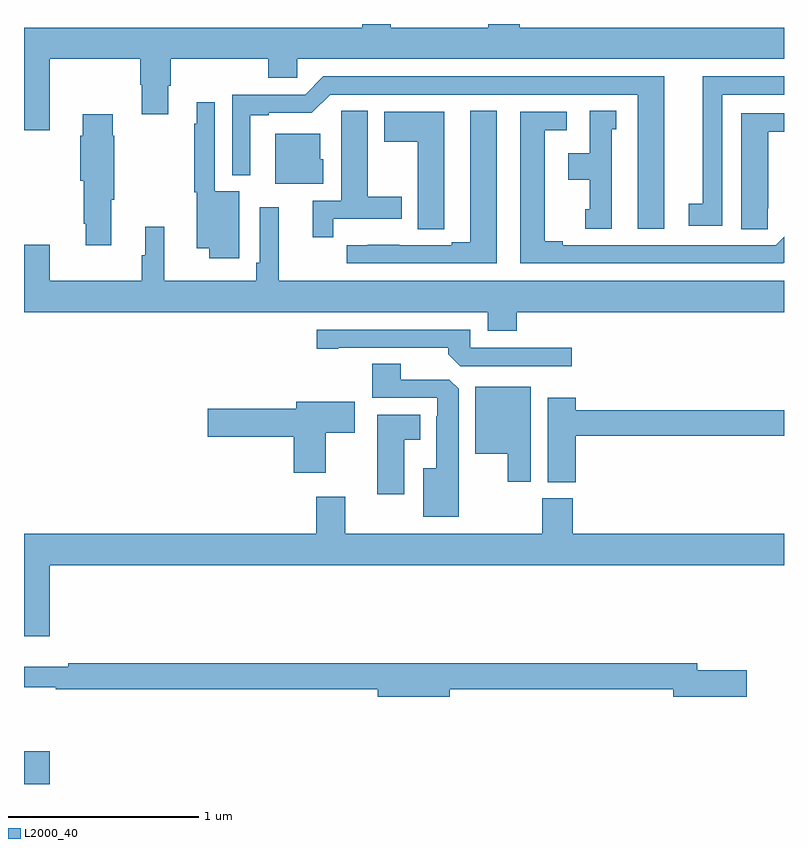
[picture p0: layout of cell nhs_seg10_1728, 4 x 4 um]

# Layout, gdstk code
import gdstk
lib = gdstk.Library(unit=1e-6, precision=1e-09)
def R(c, l, rs):  # rectangles x0, y0, x1, y1
    for r in rs: c.add(gdstk.rectangle(r[:2], r[2:], *l))
def P(c, l, *ps):  # polygons
    for p in ps: c.add(gdstk.Polygon(p, *l))
L2000_40 = (2000, 40)

nhs_seg10_1728 = lib.new_cell('nhs_seg10_1728')
R(nhs_seg10_1728, L2000_40, [(201,1296.5,201.136,1296.673)])
P(nhs_seg10_1728, L2000_40, [(201.136,1300.316),(201.613,1300.316),(201.613,1300.179),(201.62,1300.179),(201.62,1300.026),(201.76,1300.026),(201.76,1300.174),(201.773,1300.174),(201.773,1300.316),(202.286,1300.316),(202.286,1300.218),(202.437,1300.218),(202.437,1300.316),(205,1300.316),(205,1300.48),(203.609,1300.48),(203.609,1300.5),(203.444,1300.5),(203.444,1300.48),(202.931,1300.48),(202.931,1300.5),(202.779,1300.5),(202.779,1300.48),(201,1300.48),(201,1299.942),(201.136,1299.942)],
  [(204.676,1300.128),(205,1300.128),(205,1300.224),(204.572,1300.224),(204.572,1299.554),(204.498,1299.554),(204.498,1299.438),(204.676,1299.438)],
  [(204.37,1300.224),(202.575,1300.224),(202.479,1300.128),(202.095,1300.128),(202.095,1299.704),(202.192,1299.704),(202.192,1300.02),(202.288,1300.02),(202.288,1300.032),(202.515,1300.032),(202.611,1300.128),(204.23,1300.128),(204.23,1299.423),(204.37,1299.423)],
  [(202.132,1299.619),(202.005,1299.619),(202.005,1300.087),(201.908,1300.087),(201.908,1299.974),(201.897,1299.974),(201.897,1299.615),(201.908,1299.615),(201.908,1299.32),(201.974,1299.32),(201.974,1299.267),(202.132,1299.267)],
  [(202.628,1299.474),(202.987,1299.474),(202.987,1299.591),(202.81,1299.591),(202.81,1300.043),(202.671,1300.043),(202.671,1299.932),(202.67,1299.932),(202.67,1299.57),(202.52,1299.57),(202.52,1299.378),(202.628,1299.378)],
  [(203.488,1300.043),(203.348,1300.043),(203.348,1299.351),(203.252,1299.351),(203.252,1299.336),(202.976,1299.336),(202.976,1299.337),(202.81,1299.337),(202.81,1299.336),(202.698,1299.336),(202.698,1299.24),(203.488,1299.24)],
  [(204.094,1299.945),(204.118,1299.945),(204.118,1300.043),(203.978,1300.043),(203.978,1299.82),(203.864,1299.82),(203.864,1299.68),(203.978,1299.68),(203.978,1299.525),(203.954,1299.525),(203.954,1299.423),(204.094,1299.423)],
  [(203.211,1299.529),(203.212,1299.529),(203.212,1300.039),(202.895,1300.039),(202.895,1299.88),(203.072,1299.88),(203.072,1299.421),(203.211,1299.421)],
  [(205,1299.243),(205,1299.379),(204.957,1299.336),(203.836,1299.336),(203.836,1299.356),(203.74,1299.356),(203.74,1299.942),(203.857,1299.942),(203.857,1300.038),(203.612,1300.038),(203.612,1299.24),(204.997,1299.24)],
  [(204.915,1299.529),(204.916,1299.529),(204.916,1299.932),(205,1299.932),(205,1300.029),(204.776,1300.029),(204.776,1299.421),(204.915,1299.421)],
  [(201.46,1299.575),(201.474,1299.575),(201.474,1299.911),(201.466,1299.911),(201.466,1300.024),(201.308,1300.024),(201.308,1299.911),(201.296,1299.911),(201.296,1299.675),(201.314,1299.675),(201.314,1299.448),(201.326,1299.448),(201.326,1299.336),(201.46,1299.336)],
  [(202.576,1299.789),(202.558,1299.789),(202.558,1299.922),(202.322,1299.922),(202.322,1299.659),(202.576,1299.659)],
  [(203.594,1298.984),(205,1298.984),(205,1299.148),(202.34,1299.148),(202.34,1299.535),(202.242,1299.535),(202.242,1299.244),(202.222,1299.244),(202.222,1299.148),(201.738,1299.148),(201.738,1299.433),(201.638,1299.433),(201.638,1299.282),(201.619,1299.282),(201.619,1299.148),(201.136,1299.148),(201.136,1299.337),(201,1299.337),(201,1298.984),(203.441,1298.984),(203.441,1298.885),(203.594,1298.885)],
  [(203.884,1298.796),(203.349,1298.796),(203.349,1298.892),(202.542,1298.892),(202.542,1298.791),(202.654,1298.791),(202.654,1298.796),(203.234,1298.796),(203.234,1298.762),(203.295,1298.7),(203.884,1298.7)],
  [(203.287,1298.579),(203.238,1298.628),(202.984,1298.628),(202.984,1298.711),(202.832,1298.711),(202.832,1298.532),(203.175,1298.532),(203.175,1298.435),(203.171,1298.435),(203.171,1298.161),(203.102,1298.161),(203.102,1297.907),(203.287,1297.907)],
  [(203.668,1298.59),(203.375,1298.59),(203.375,1298.237),(203.546,1298.237),(203.546,1298.091),(203.668,1298.091)],
  [(203.903,1298.332),(205,1298.332),(205,1298.468),(203.903,1298.468),(203.903,1298.533),(203.756,1298.533),(203.756,1298.089),(203.903,1298.089)],
  [(202.588,1298.35),(202.741,1298.35),(202.741,1298.512),(202.433,1298.512),(202.433,1298.474),(201.966,1298.474),(201.966,1298.327),(202.421,1298.327),(202.421,1298.139),(202.588,1298.139)],
  [(203.002,1298.312),(203.086,1298.312),(203.086,1298.443),(202.859,1298.443),(202.859,1298.025),(203.002,1298.025)],
  [(201.136,1297.652),(205,1297.652),(205,1297.816),(203.888,1297.816),(203.888,1298.004),(203.728,1298.004),(203.728,1297.816),(202.69,1297.816),(202.69,1298.011),(202.538,1298.011),(202.538,1297.816),(201,1297.816),(201,1297.278),(201.136,1297.278)],
  [(203.242,1297),(204.416,1297),(204.416,1296.958),(204.805,1296.958),(204.805,1297.1),(204.544,1297.1),(204.544,1297.136),(201.232,1297.136),(201.232,1297.117),(201,1297.117),(201,1297.008),(201.166,1297.008),(201.166,1297),(202.862,1297),(202.862,1296.958),(203.242,1296.958)])

lib.write_gds('nhs_seg10_1728.gds')
